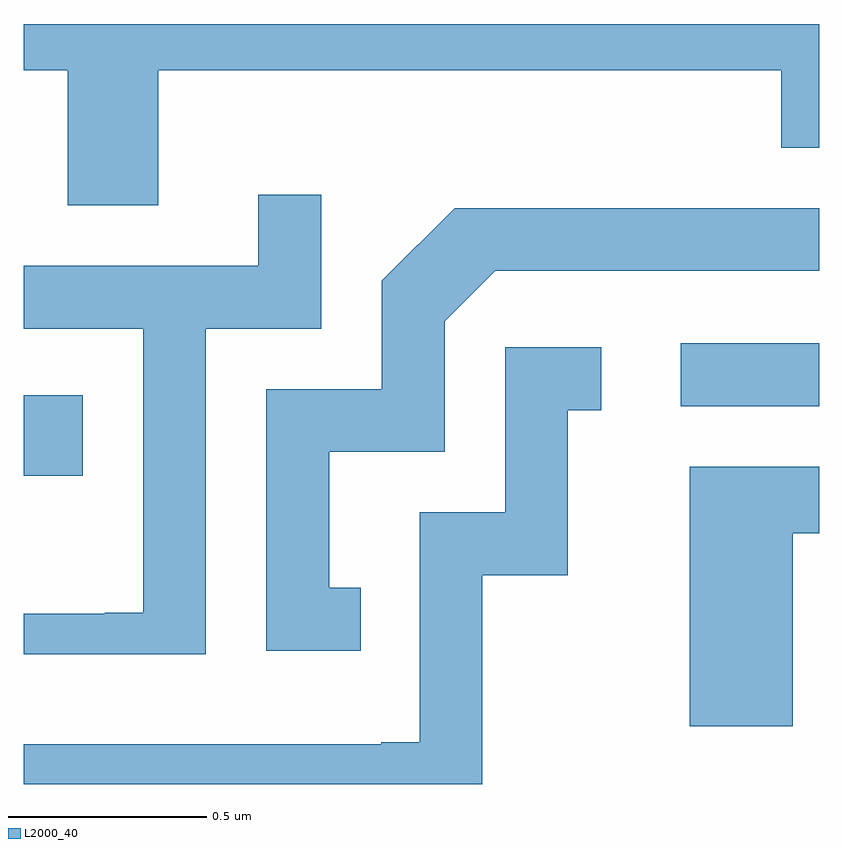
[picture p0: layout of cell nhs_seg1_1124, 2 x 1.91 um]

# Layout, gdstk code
import gdstk
lib = gdstk.Library(unit=1e-6, precision=1e-09)
def R(c, l, rs):  # rectangles x0, y0, x1, y1
    for r in rs: c.add(gdstk.rectangle(r[:2], r[2:], *l))
def P(c, l, *ps):  # polygons
    for p in ps: c.add(gdstk.Polygon(p, *l))
L2000_40 = (2000, 40)

nhs_seg1_1124 = lib.new_cell('nhs_seg1_1124')
R(nhs_seg1_1124, L2000_40, [(193.611,878.576,193.759,878.779), (195.263,878.751,195.611,878.909)])
P(nhs_seg1_1124, L2000_40, [(193.949,879.596),(195.516,879.596),(195.516,879.401),(195.611,879.401),(195.611,879.712),(193.611,879.712),(193.611,879.596),(193.721,879.596),(193.721,879.256),(193.949,879.256)],
  [(194.069,878.946),(194.359,878.946),(194.359,879.283),(194.201,879.283),(194.201,879.104),(193.611,879.104),(193.611,878.946),(193.911,878.946),(193.911,878.232),(193.815,878.232),(193.815,878.229),(193.611,878.229),(193.611,878.127),(194.069,878.127)],
  [(194.458,878.294),(194.379,878.294),(194.379,878.636),(194.669,878.636),(194.669,878.964),(194.797,879.091),(195.611,879.091),(195.611,879.249),(194.694,879.249),(194.511,879.067),(194.511,878.794),(194.221,878.794),(194.221,878.136),(194.458,878.136)],
  [(194.764,878.326),(194.979,878.326),(194.979,878.741),(195.063,878.741),(195.063,878.899),(194.821,878.899),(194.821,878.484),(194.606,878.484),(194.606,877.906),(194.51,877.906),(194.51,877.901),(193.611,877.901),(193.611,877.801),(194.764,877.801)],
  [(195.544,878.431),(195.611,878.431),(195.611,878.599),(195.286,878.599),(195.286,877.946),(195.544,877.946)])

lib.write_gds('nhs_seg1_1124.gds')
